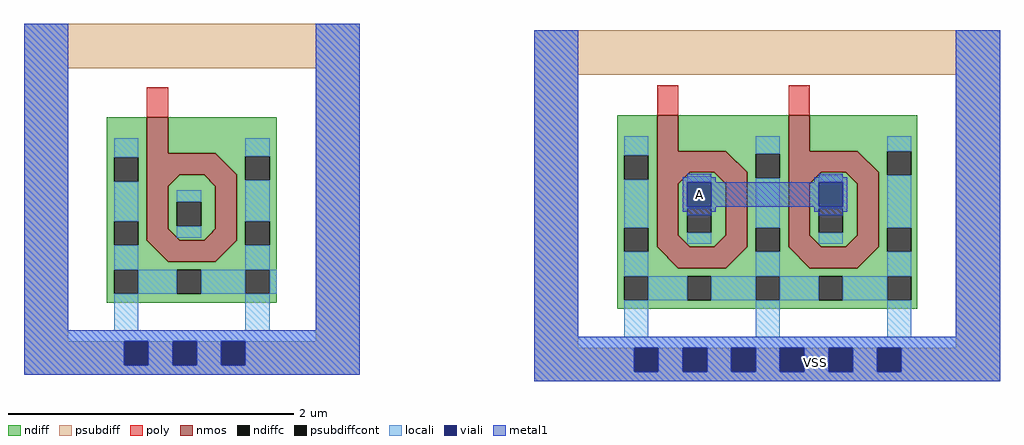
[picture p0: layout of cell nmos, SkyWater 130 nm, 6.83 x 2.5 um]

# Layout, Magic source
magic
tech sky130A
magscale 1 2
<< nmos >>
rect 56 310 86 360
rect 56 280 152 310
tri 152 280 182 310 sw
rect 56 196 86 280
tri 86 264 102 280 nw
tri 136 264 152 280 ne
tri 86 196 94 204 sw
tri 144 196 152 204 se
rect 152 196 182 280
rect 56 193 94 196
tri 94 193 97 196 sw
rect 56 188 97 193
tri 97 188 102 193 sw
tri 140 192 144 196 se
rect 144 192 182 196
tri 136 188 140 192 se
rect 140 188 182 192
tri 56 158 86 188 ne
rect 86 158 152 188
tri 152 158 182 188 nw
rect 770 313 800 363
rect 954 313 984 363
rect 770 283 866 313
tri 866 283 896 313 sw
rect 770 179 800 283
tri 800 267 816 283 nw
tri 850 267 866 283 ne
tri 800 179 816 195 sw
tri 850 179 866 195 se
rect 866 179 896 283
rect 954 283 1050 313
tri 1050 283 1080 313 sw
tri 770 149 800 179 ne
rect 800 149 866 179
tri 866 149 896 179 nw
rect 954 179 984 283
tri 984 267 1000 283 nw
tri 1034 267 1050 283 ne
tri 984 179 1000 195 sw
tri 1034 179 1050 195 se
rect 1050 179 1080 283
tri 954 149 984 179 ne
rect 984 149 1050 179
tri 1050 149 1080 179 nw
<< ndiff >>
rect 0 304 56 360
rect 86 310 238 360
rect 0 270 10 304
rect 44 270 56 304
tri 152 280 182 310 ne
rect 182 306 238 310
rect 0 215 56 270
rect 0 181 10 215
rect 44 181 56 215
tri 86 264 102 280 se
rect 102 264 136 280
tri 136 264 152 280 sw
rect 86 242 152 264
rect 86 208 98 242
rect 132 208 152 242
rect 86 204 152 208
tri 86 196 94 204 ne
rect 94 196 144 204
tri 144 196 152 204 nw
rect 182 272 194 306
rect 228 272 238 306
rect 182 215 238 272
tri 94 193 97 196 ne
rect 97 193 140 196
tri 97 188 102 193 ne
rect 102 192 140 193
tri 140 192 144 196 nw
rect 102 188 136 192
tri 136 188 140 192 nw
rect 0 158 56 181
tri 56 158 86 188 sw
tri 152 158 182 188 se
rect 182 181 194 215
rect 228 181 238 215
rect 182 158 238 181
rect 0 147 238 158
rect 0 113 10 147
rect 44 113 98 147
rect 132 113 194 147
rect 228 113 238 147
rect 0 101 238 113
rect 714 307 770 363
rect 800 313 954 363
rect 984 313 1134 363
rect 714 273 724 307
rect 758 273 770 307
tri 866 283 896 313 ne
rect 896 309 954 313
rect 714 206 770 273
rect 714 172 724 206
rect 758 172 770 206
tri 800 267 816 283 se
rect 816 267 850 283
tri 850 267 866 283 sw
rect 800 233 866 267
rect 800 199 812 233
rect 846 199 866 233
rect 800 195 866 199
tri 800 179 816 195 ne
rect 816 179 850 195
tri 850 179 866 195 nw
rect 896 275 908 309
rect 942 275 954 309
tri 1050 283 1080 313 ne
rect 896 206 954 275
rect 714 149 770 172
tri 770 149 800 179 sw
tri 866 149 896 179 se
rect 896 172 908 206
rect 942 172 954 206
tri 984 267 1000 283 se
rect 1000 267 1034 283
tri 1034 267 1050 283 sw
rect 984 233 1050 267
rect 984 199 996 233
rect 1030 199 1050 233
rect 984 195 1050 199
tri 984 179 1000 195 ne
rect 1000 179 1034 195
tri 1034 179 1050 195 nw
rect 1080 279 1092 313
rect 1126 279 1134 313
rect 1080 206 1134 279
rect 896 149 954 172
tri 954 149 984 179 sw
tri 1050 149 1080 179 se
rect 1080 172 1092 206
rect 1126 172 1134 206
rect 1080 149 1134 172
rect 714 138 1134 149
rect 714 104 724 138
rect 758 104 812 138
rect 846 104 908 138
rect 942 104 996 138
rect 1030 104 1092 138
rect 1126 104 1134 138
rect 714 92 1134 104
<< ndiffc >>
rect 10 270 44 304
rect 10 181 44 215
rect 98 208 132 242
rect 194 272 228 306
rect 194 181 228 215
rect 10 113 44 147
rect 98 113 132 147
rect 194 113 228 147
rect 724 273 758 307
rect 724 172 758 206
rect 812 199 846 233
rect 908 275 942 309
rect 908 172 942 206
rect 996 199 1030 233
rect 1092 279 1126 313
rect 1092 172 1126 206
rect 724 104 758 138
rect 812 104 846 138
rect 908 104 942 138
rect 996 104 1030 138
rect 1092 104 1126 138
<< psubdiff >>
rect -116 429 354 491
rect -116 47 -54 429
rect 292 47 354 429
rect -116 13 24 47
rect 58 13 92 47
rect 126 13 160 47
rect 194 13 354 47
rect -116 0 354 13
rect 598 420 1250 482
rect 598 38 660 420
rect 1188 38 1250 420
rect 598 4 738 38
rect 772 4 806 38
rect 840 4 874 38
rect 908 4 942 38
rect 976 4 1010 38
rect 1044 4 1078 38
rect 1112 4 1250 38
rect 598 -9 1250 4
<< psubdiffcont >>
rect 24 13 58 47
rect 92 13 126 47
rect 160 13 194 47
rect 738 4 772 38
rect 806 4 840 38
rect 874 4 908 38
rect 942 4 976 38
rect 1010 4 1044 38
rect 1078 4 1112 38
<< poly >>
rect 56 360 86 402
rect 770 363 800 405
rect 954 363 984 405
<< locali >>
rect -116 62 -54 491
rect 10 304 44 331
rect 10 215 44 270
rect 194 306 228 331
rect 98 242 132 258
rect 98 192 132 208
rect 194 215 228 272
rect 10 147 44 181
rect 194 147 228 181
rect 44 113 98 147
rect 132 113 194 147
rect 228 113 238 147
rect 10 62 44 113
rect 194 62 228 113
rect 292 62 354 491
rect -116 47 354 62
rect -116 13 24 47
rect 58 13 92 47
rect 126 13 160 47
rect 194 13 354 47
rect -116 0 354 13
rect 598 53 660 482
rect 724 307 758 334
rect 908 309 942 334
rect 724 206 758 273
rect 812 269 846 278
rect 812 233 846 235
rect 812 183 846 199
rect 1092 313 1126 334
rect 908 206 942 275
rect 724 138 758 172
rect 996 269 1030 279
rect 996 233 1030 235
rect 996 183 1030 199
rect 1092 206 1126 279
rect 908 138 942 172
rect 1092 138 1126 172
rect 758 104 812 138
rect 846 104 908 138
rect 942 104 996 138
rect 1030 104 1092 138
rect 724 53 758 104
rect 908 53 942 104
rect 1092 53 1126 104
rect 1188 53 1250 482
rect 598 38 1250 53
rect 598 4 738 38
rect 772 4 806 38
rect 840 4 874 38
rect 908 4 942 38
rect 976 4 1010 38
rect 1044 4 1078 38
rect 1112 4 1250 38
rect 598 -9 1250 4
<< viali >>
rect 24 13 58 47
rect 92 13 126 47
rect 160 13 194 47
rect 812 235 846 269
rect 996 235 1030 269
rect 738 4 772 38
rect 806 4 840 38
rect 874 4 908 38
rect 942 4 976 38
rect 1010 4 1044 38
rect 1078 4 1112 38
<< metal1 >>
rect -116 62 -54 491
rect 292 62 354 491
rect -116 47 354 62
rect -116 13 24 47
rect 58 13 92 47
rect 126 13 160 47
rect 194 13 354 47
rect -116 0 354 13
rect 598 53 660 482
rect 812 276 846 281
rect 996 276 1030 281
rect 806 269 852 276
rect 990 269 1036 276
rect 806 235 812 269
rect 846 235 996 269
rect 1030 235 1036 269
rect 806 228 852 235
rect 990 228 1036 235
rect 812 223 846 228
rect 996 223 1030 228
rect 1188 53 1250 482
rect 598 38 1250 53
rect 598 4 738 38
rect 772 4 806 38
rect 840 4 874 38
rect 908 4 942 38
rect 976 4 1010 38
rect 1044 4 1078 38
rect 1112 4 1250 38
rect 598 -9 1250 4
<< labels >>
rlabel metal1 992 17 992 17 1 VSS
port 1 n
rlabel metal1 812 235 846 269 1 A
port 2 n
<< end >>
